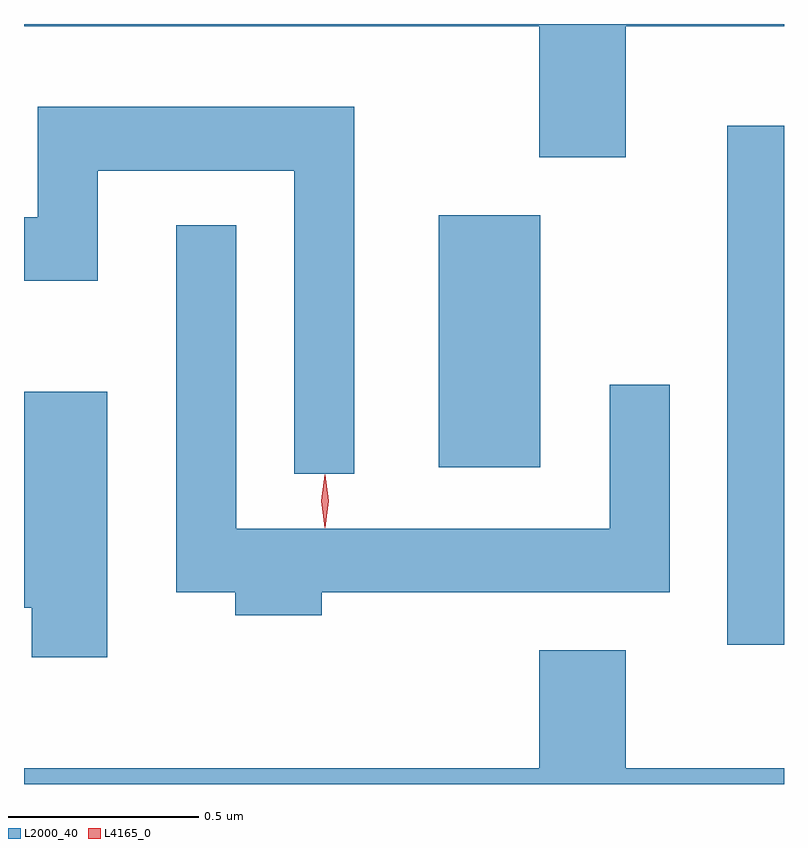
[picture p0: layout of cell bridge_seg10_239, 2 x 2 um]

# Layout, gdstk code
import gdstk
lib = gdstk.Library(unit=1e-6, precision=1e-09)
def R(c, l, rs):  # rectangles x0, y0, x1, y1
    for r in rs: c.add(gdstk.rectangle(r[:2], r[2:], *l))
def P(c, l, *ps):  # polygons
    for p in ps: c.add(gdstk.Polygon(p, *l))
L2000_40 = (2000, 40)
L4165_0 = (4165, 0)

bridge_seg10_239 = lib.new_cell('bridge_seg10_239')
R(bridge_seg10_239, L2000_40, [(1768.536,2094.528,1768.685,2095.894), (1767.776,2094.996,1768.044,2095.659)])
P(bridge_seg10_239, L2000_40, [(1768.269,2096.156),(1768.685,2096.156),(1768.685,2096.162),(1766.685,2096.162),(1766.685,2096.156),(1768.041,2096.156),(1768.041,2095.811),(1768.269,2095.811)],
  [(1767.554,2095.944),(1766.721,2095.944),(1766.721,2095.654),(1766.685,2095.654),(1766.685,2095.486),(1766.879,2095.486),(1766.879,2095.776),(1767.396,2095.776),(1767.396,2094.978),(1767.554,2094.978)],
  [(1767.469,2094.666),(1768.384,2094.666),(1768.384,2095.213),(1768.226,2095.213),(1768.226,2094.834),(1767.244,2094.834),(1767.244,2095.633),(1767.086,2095.633),(1767.086,2094.666),(1767.241,2094.666),(1767.241,2094.606),(1767.469,2094.606)],
  [(1766.904,2095.194),(1766.685,2095.194),(1766.685,2094.626),(1766.706,2094.626),(1766.706,2094.496),(1766.904,2094.496)],
  [(1768.685,2094.204),(1768.269,2094.204),(1768.269,2094.514),(1768.041,2094.514),(1768.041,2094.204),(1766.685,2094.204),(1766.685,2094.162),(1768.685,2094.162)])
P(bridge_seg10_239, L4165_0, [(1767.477,2094.839),(1767.477,2094.84),(1767.467,2094.906),(1767.477,2094.973),(1767.477,2094.973),(1767.478,2094.973),(1767.487,2094.906),(1767.478,2094.84)],
  [(1767.477,2094.837),(1767.477,2094.837),(1767.467,2094.907),(1767.477,2094.976),(1767.477,2094.976),(1767.478,2094.976),(1767.487,2094.907),(1767.478,2094.837)])

lib.write_gds('bridge_seg10_239.gds')
